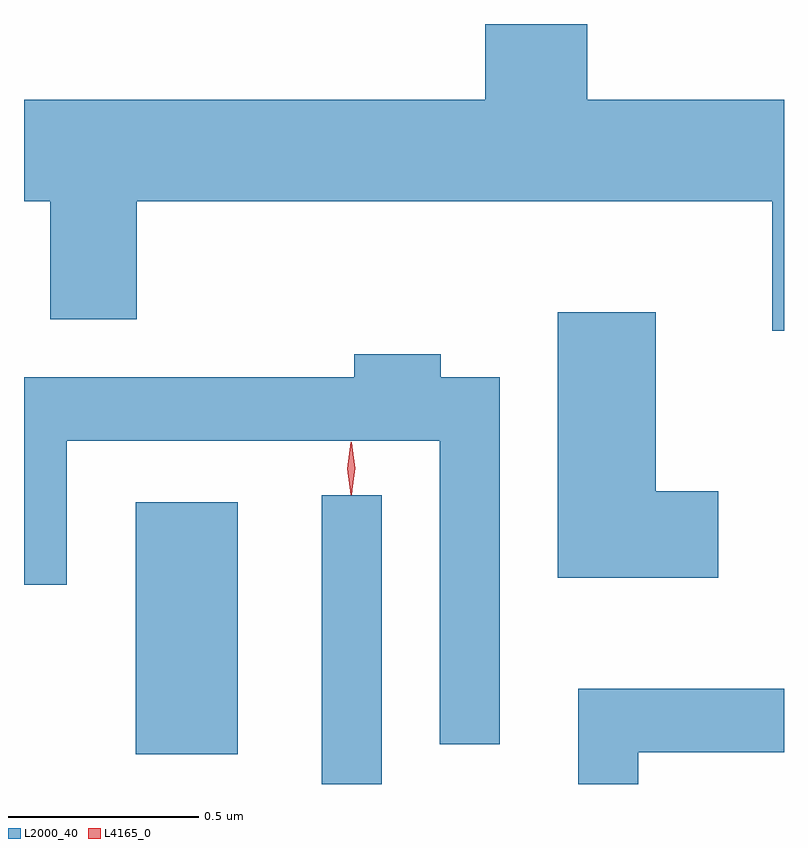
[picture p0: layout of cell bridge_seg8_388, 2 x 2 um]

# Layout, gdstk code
import gdstk
lib = gdstk.Library(unit=1e-6, precision=1e-09)
def R(c, l, rs):  # rectangles x0, y0, x1, y1
    for r in rs: c.add(gdstk.rectangle(r[:2], r[2:], *l))
def P(c, l, *ps):  # polygons
    for p in ps: c.add(gdstk.Polygon(p, *l))
L2000_40 = (2000, 40)
L4165_0 = (4165, 0)

bridge_seg8_388 = lib.new_cell('bridge_seg8_388')
R(bridge_seg8_388, L2000_40, [(694.166,1879.283,694.324,1880.043), (693.676,1879.361,693.944,1880.024)])
P(bridge_seg8_388, L2000_40, [(695.382,1881.084),(694.864,1881.084),(694.864,1881.283),(694.596,1881.283),(694.596,1881.084),(693.382,1881.084),(693.382,1880.816),(693.451,1880.816),(693.451,1880.506),(693.679,1880.506),(693.679,1880.816),(695.351,1880.816),(695.351,1880.476),(695.382,1880.476)],
  [(695.209,1880.054),(695.044,1880.054),(695.044,1880.524),(694.786,1880.524),(694.786,1879.826),(695.209,1879.826)],
  [(694.634,1880.354),(694.479,1880.354),(694.479,1880.414),(694.251,1880.414),(694.251,1880.354),(693.382,1880.354),(693.382,1879.808),(693.494,1879.808),(693.494,1880.186),(694.476,1880.186),(694.476,1879.388),(694.634,1879.388)],
  [(694.999,1879.366),(695.382,1879.366),(695.382,1879.534),(694.841,1879.534),(694.841,1879.283),(694.999,1879.283)])
P(bridge_seg8_388, L4165_0, [(694.243,1880.043),(694.242,1880.044),(694.233,1880.113),(694.242,1880.182),(694.243,1880.183),(694.244,1880.182),(694.253,1880.113),(694.244,1880.044)],
  [(694.244,1880.047),(694.243,1880.048),(694.234,1880.114),(694.243,1880.18),(694.244,1880.18),(694.244,1880.18),(694.254,1880.114),(694.244,1880.048)])

lib.write_gds('bridge_seg8_388.gds')
